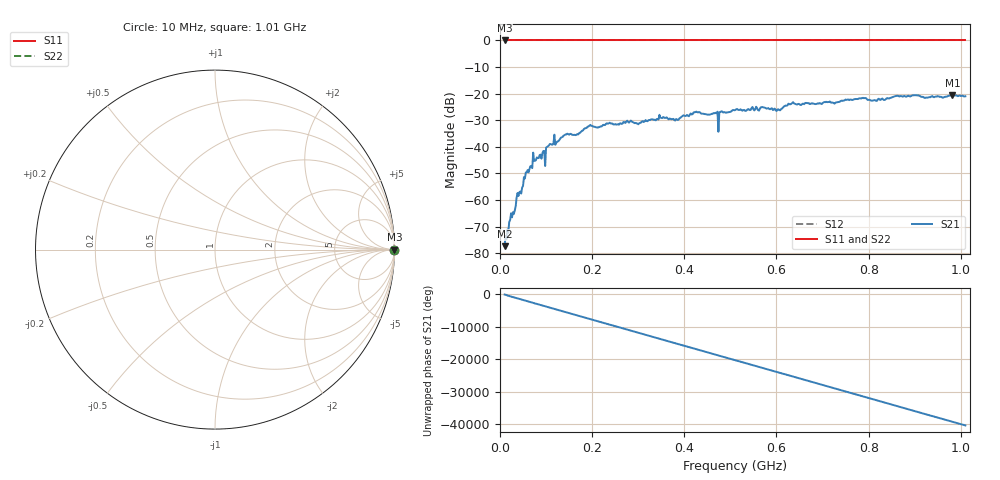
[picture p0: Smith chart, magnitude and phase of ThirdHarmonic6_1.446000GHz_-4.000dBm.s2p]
! 8/16/2025 4:44:25 PM
! C:\ANRITSUVNA\TEMP\TEMP.S2P
! CHANNEL.1
! TR.MEASUREMENT
! RAW.DATA
! RF.CORRECTION.OFF
! AVERAGING.OFF
! IF.BANDWIDTH: 5KHZ
! SWEEPTYPE:  FREQ.SWEEP(Linear)
! Reference Plane Port Info
! PORT:  PORT1  PORT2
! DISTANCE:  0  m  0  m
! TIME:  0  s  0  s
! PHASE.OFFSET:  0  deg.  0  deg.
! LOSS:  0  dB  0  dB
! REF.LOSS:  0  dB  0  dB
! REF.FREQ:  0  Hz  0  Hz
! Power Info
! POWER:  -20  dBm  -20  dBm
! EFF.POWER:  -20  dBm  -20  dBm
! SOURCE.ATTEN:  0  dB  0  dB
! TEST.ATTEN:  0  dB  0  dB
# GHZ S RI R 50.0
! FREQ.GHZ  S11RE  S11IM  S21RE  S21IM  S12RE  S12IM  S22RE  S22IM
!; PortSelection: Port_12
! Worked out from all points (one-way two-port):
!   501 points, 10 MHz to 1.01 GHz, reference 50 ohm
!   highest |S21| = -20.52 dB at 982 MHz (marker M1); lowest = -77.4 dB at 10 MHz (marker M2)
!   lowest |S11| = 0.0 dB at 10 MHz (marker M3)
!   |S11| at or under -10 dB: nowhere
!   |S22| runs from 0.0 to 0.0 dB; largest |S21 - S12| = 1.1
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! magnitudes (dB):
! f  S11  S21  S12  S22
! 10 MHz  0.0  -77.4  0.0  0.0
! 40 MHz  0.0  -58.5  0.0  0.0
! 46 MHz  0.0  -57.6  0.0  0.0
! 56 MHz  0.0  -49.7  0.0  0.0
! 76 MHz  0.0  -45.3  0.0  0.0
! 94 MHz  0.0  -41.6  0.0  0.0
! 104 MHz  0.0  -39.8  0.0  0.0
! 142 MHz  0.0  -35.4  0.0  0.0
! 178 MHz  0.0  -34.0  0.0  0.0
! 196 MHz  0.0  -31.7  0.0  0.0
! 344 MHz  0.0  -29.8  0.0  0.0
! 384 MHz  0.0  -29.7  0.0  0.0
! 428 MHz  0.0  -27.0  0.0  0.0
! 468 MHz  0.0  -27.2  0.0  0.0
! 470 MHz  0.0  -27.4  0.0  0.0
! 510 MHz  0.0  -26.2  0.0  0.0
! 604 MHz  0.0  -25.9  0.0  0.0
! 632 MHz  0.0  -23.9  0.0  0.0
! 678 MHz  0.0  -23.7  0.0  0.0
! 844 MHz  0.0  -21.8  0.0  0.0
! 982 MHz  0.0  -20.5  0.0  0.0
! 1.01 GHz  0.0  -21.0  0.0  0.0
